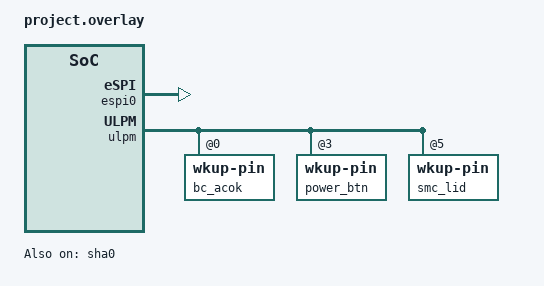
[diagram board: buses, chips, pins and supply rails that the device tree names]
/* Copyright 2026 The ChromiumOS Authors
 * Use of this source code is governed by a BSD-style license that can be
 * found in the LICENSE file.
 */

/* ocelot program common DTS includes */

#include <cros/integrated_fwid.dtsi>

/* ocelotrvp-rtk program common DTS includes */

#include "gpio.dtsi"
#include "i2c.dtsi"
#include "power_signals.dtsi"
#include "../rvp_battery.dtsi"
#include "../rvp_interrupts.dtsi"
#include "../rvp_ioex_gpio.dtsi"
#include "../rvp_usbc.dtsi"

&espi0 {
	status = "okay";
};

&sha0 {
	status = "okay";
};

&pdc_rtk_c0 {
	irq-gpios = <RTS5912_GPIO027 GPIO_ACTIVE_LOW>;
};
&pdc_rtk_c1 {
	irq-gpios = <RTS5912_GPIO027 GPIO_ACTIVE_LOW>;
};
&pdc_ti_c0 {
	irq-gpios = <RTS5912_GPIO027 GPIO_ACTIVE_LOW>;
};
&pdc_ti_c1 {
	irq-gpios = <RTS5912_GPIO027 GPIO_ACTIVE_LOW>;
};

&ulpm {
	status = "okay";
	bc_acok: wkup-pin@0 {
		wkup-pin-mode = "vin";
		wkup-pin-pol = "rising";
	};
	power_btn: wkup-pin@3 {
		wkup-pin-mode = "vin";
		wkup-pin-pol = "falling";
	};
	smc_lid: wkup-pin@5 {
		wkup-pin-mode = "vin";
		wkup-pin-pol = "rising";
	};
};
